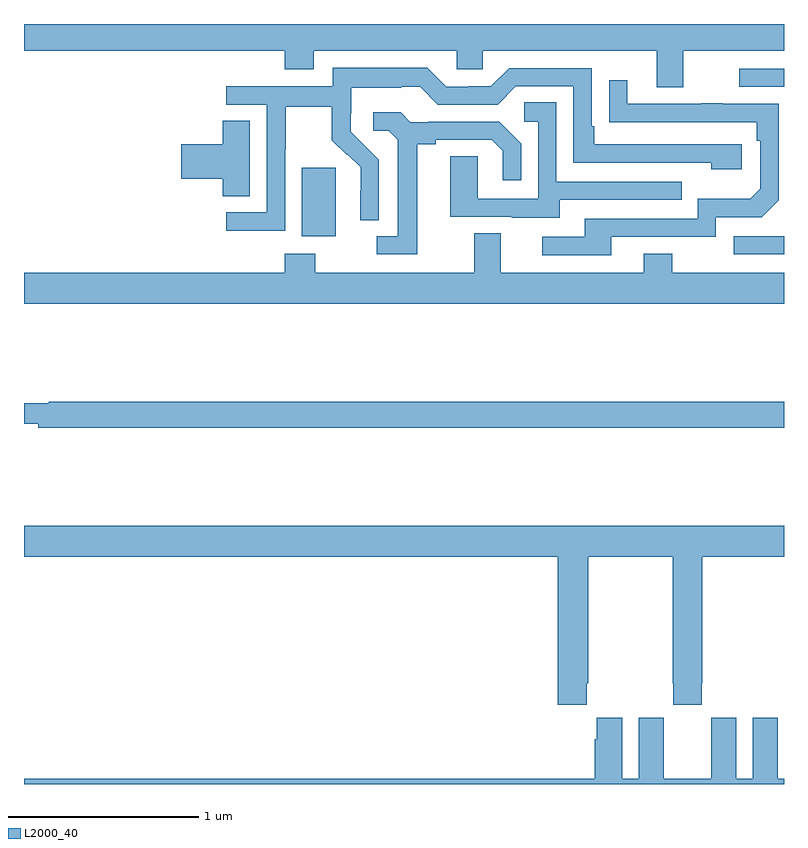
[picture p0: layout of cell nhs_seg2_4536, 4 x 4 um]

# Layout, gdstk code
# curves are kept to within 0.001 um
import gdstk
lib = gdstk.Library(unit=1e-6, precision=1e-09)
def R(c, l, rs):  # rectangles x0, y0, x1, y1
    for r in rs: c.add(gdstk.rectangle(r[:2], r[2:], *l))
def P(c, l, *ps):  # polygons
    for p in ps: c.add(gdstk.Polygon(p, *l))
L2000_40 = (2000, 40)

nhs_seg2_4536 = lib.new_cell('nhs_seg2_4536')
R(nhs_seg2_4536, L2000_40, [(360.735,622.587,361,622.683), (358.463,622.682,358.642,623.043), (360.765,623.469,361,623.565)])
P(nhs_seg2_4536, L2000_40, [(360.469,623.66),(361,623.66),(361,623.8),(357,623.8),(357,623.66),(358.373,623.66),(358.373,623.561),(358.525,623.561),(358.525,623.66),(359.277,623.66),(359.277,623.562),(359.415,623.562),(359.415,623.66),(360.329,623.66),(360.329,623.466),(360.469,623.466)],
  [(358.374,623.14),(358.377,623.14),(358.377,623.364),(358.621,623.364),(358.621,623.189),(358.698,623.112),(358.701,623.115),(358.772,623.045),(358.772,622.922),(358.77,622.922),(358.77,622.768),(358.866,622.768),(358.866,623.086),(358.72,623.234),(358.72,623.331),(358.722,623.331),(358.722,623.465),(358.985,623.465),(358.985,623.469),(359.085,623.469),(359.178,623.376),(359.493,623.376),(359.589,623.472),(359.892,623.472),(359.892,623.07),(360.617,623.07),(360.617,623.036),(360.778,623.036),(360.778,623.166),(360.001,623.166),(360.001,623.263),(359.988,623.263),(359.988,623.568),(359.553,623.568),(359.457,623.472),(359.339,623.472),(359.339,623.469),(359.223,623.469),(359.123,623.569),(358.626,623.569),(358.626,623.472),(358.065,623.472),(358.065,623.376),(358.278,623.376),(358.278,622.809),(358.065,622.809),(358.065,622.711),(358.374,622.711)],
  [(360.091,622.68),(360.642,622.68),(360.642,622.782),(360.882,622.782),(360.972,622.872),(360.972,623.379),(360.677,623.379),(360.677,623.384),(360.565,623.384),(360.565,623.379),(360.175,623.379),(360.175,623.503),(360.079,623.503),(360.079,623.284),(360.856,623.283),(360.856,623.186),(360.876,623.186),(360.876,622.932),(360.823,622.879),(360.546,622.879),(360.546,622.776),(359.951,622.776),(359.951,622.68),(359.727,622.68),(359.727,622.584),(360.091,622.584)],
  [(359.821,622.875),(360.461,622.875),(360.461,622.971),(359.802,622.971),(359.802,623.387),(359.634,623.387),(359.634,623.286),(359.706,623.286),(359.706,622.881),(359.388,622.881),(359.388,623.105),(359.243,623.105),(359.243,622.785),(359.567,622.785),(359.567,622.781),(359.821,622.781)],
  [(359.071,623.168),(359.167,623.168),(359.167,623.19),(359.462,623.19),(359.519,623.133),(359.519,622.977),(359.616,622.977),(359.616,623.17),(359.5,623.286),(359.128,623.286),(359.128,623.283),(359.034,623.283),(358.982,623.335),(358.839,623.335),(358.839,623.238),(358.92,623.238),(358.967,623.191),(358.967,622.683),(358.857,622.683),(358.857,622.587),(359.071,622.587)],
  [(358.189,623.291),(358.046,623.291),(358.046,623.168),(357.828,623.168),(357.828,622.985),(358.046,622.985),(358.046,622.894),(358.189,622.894)],
  [(361,622.492),(360.411,622.492),(360.411,622.591),(360.263,622.591),(360.263,622.492),(359.509,622.492),(359.509,622.7),(359.369,622.7),(359.369,622.492),(358.533,622.492),(358.533,622.591),(358.373,622.591),(358.373,622.492),(357,622.492),(357,622.328),(361,622.328)],
  [(361,621.812),(357.131,621.812),(357.131,621.805),(357,621.805),(357,621.695),(357.076,621.695),(357.076,621.676),(361,621.676)],
  [(359.963,620.329),(359.97,620.329),(359.97,620.996),(360.415,620.996),(360.415,620.329),(360.417,620.329),(360.417,620.217),(360.567,620.217),(360.567,620.329),(360.57,620.329),(360.57,620.996),(361,620.996),(361,621.16),(357,621.16),(357,620.996),(359.81,620.996),(359.81,620.217),(359.963,620.217)],
  [(361,619.828),(360.967,619.828),(360.967,620.036),(360.966,620.036),(360.966,620.149),(360.836,620.149),(360.836,619.828),(360.748,619.828),(360.748,620.149),(360.618,620.149),(360.618,620.036),(360.617,620.036),(360.617,619.828),(360.367,619.828),(360.367,620.036),(360.366,620.036),(360.366,620.149),(360.236,620.149),(360.236,619.828),(360.148,619.828),(360.148,620.149),(360.014,620.149),(360.014,620.036),(360.005,620.036),(360.005,619.828),(357,619.828),(357,619.8),(361,619.8)])

lib.write_gds('nhs_seg2_4536.gds')
